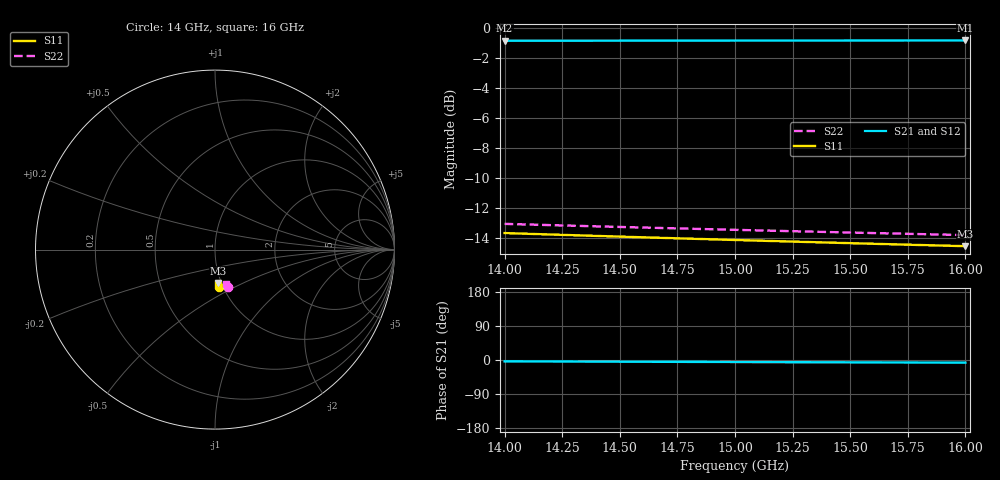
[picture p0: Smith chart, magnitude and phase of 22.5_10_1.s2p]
! Created Fri Dec 11 14:13:16 2020
# hz S ma R 50
! 2 Port Network Data from Sweep1.SP1.SP block
! freq  magS11  angS11  magS21  angS21  magS12  angS12  magS22  angS22
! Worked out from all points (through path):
!   21 points, 14 GHz to 16 GHz, reference 50 ohm
!   highest |S21| = -0.82 dB at 16 GHz (marker M1); lowest = -0.8 dB at 14 GHz (marker M2)
!   group delay of S21, straight-line fit = 4.79 ps
!   lowest |S11| = -14.5 dB at 16 GHz (marker M3), VSWR 1.46, Z = 48.2 - j18.6 ohm
!   |S11| at or under -10 dB: start of sweep to end of sweep
!   |S22| runs from -13.8 to -13.1 dB; largest |S21 - S12| = 0
1.4e10  0.2071 -83.1  0.9074 -3.5  0.9074 -3.5  0.2223 -71.5
1.41e10  0.206 -83.2  0.9075 -3.7  0.9075 -3.7  0.2212 -71.6
1.42e10  0.2049 -83.3  0.9076 -3.9  0.9076 -3.9  0.2202 -71.6
1.43e10  0.2037 -83.4  0.9078 -4.1  0.9078 -4.1  0.2191 -71.7
1.44e10  0.2026 -83.5  0.9079 -4.3  0.9079 -4.3  0.2181 -71.7
1.45e10  0.2016 -83.6  0.908 -4.4  0.908 -4.4  0.2171 -71.7
1.46e10  0.2005 -83.7  0.9081 -4.6  0.9081 -4.6  0.2161 -71.8
1.47e10  0.1995 -83.8  0.9083 -4.8  0.9083 -4.8  0.2152 -71.8
1.48e10  0.1984 -83.8  0.9084 -5.0  0.9084 -5.0  0.2142 -71.9
1.49e10  0.1974 -83.9  0.9085 -5.1  0.9085 -5.1  0.2133 -71.9
1.5e10  0.1964 -84.0  0.9086 -5.3  0.9086 -5.3  0.2124 -71.9
1.51e10  0.1954 -84.1  0.9087 -5.5  0.9087 -5.5  0.2115 -72.0
1.52e10  0.1945 -84.2  0.9088 -5.7  0.9088 -5.7  0.2106 -72.0
1.53e10  0.1935 -84.3  0.9089 -5.8  0.9089 -5.8  0.2097 -72.1
1.54e10  0.1926 -84.4  0.909 -6.0  0.909 -6.0  0.2088 -72.1
1.55e10  0.1917 -84.4  0.9091 -6.2  0.9091 -6.2  0.208 -72.1
1.56e10  0.1908 -84.5  0.9091 -6.3  0.9091 -6.3  0.2072 -72.2
1.57e10  0.1899 -84.6  0.9092 -6.5  0.9092 -6.5  0.2063 -72.2
1.58e10  0.189 -84.7  0.9093 -6.7  0.9093 -6.7  0.2055 -72.3
1.59e10  0.1882 -84.8  0.9094 -6.8  0.9094 -6.8  0.2047 -72.3
1.6e10  0.1873 -84.8  0.9095 -7.0  0.9095 -7.0  0.204 -72.3
